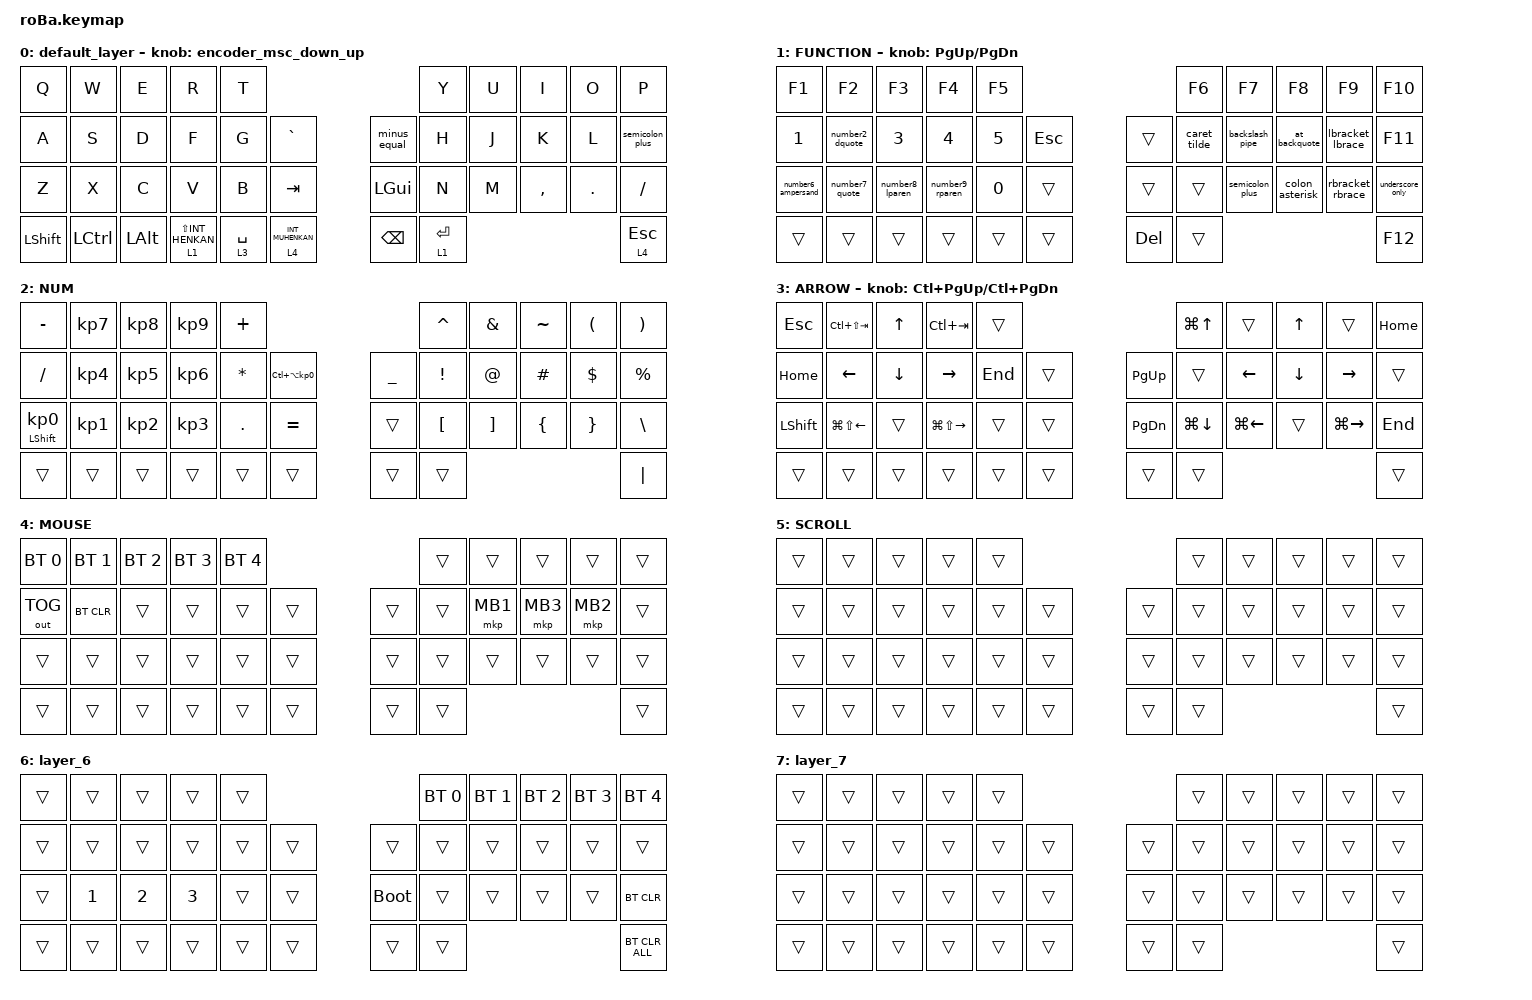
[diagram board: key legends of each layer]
#include <behaviors.dtsi>
#include <dt-bindings/zmk/bt.h>
#include <dt-bindings/zmk/keys.h>
#include <dt-bindings/zmk/outputs.h>
#include <dt-bindings/zmk/pointing.h>

// OS設定を日本語キーボードのまま使用するための変換定義

#define JP_DQUOTE       AT                // "
#define JP_AMPERSAND    CARET             // &
#define JP_QUOTE        AMPERSAND         // '
#define JP_EQUAL        UNDER             // =
#define JP_CARET        EQUAL             // ^
#define JP_YEN          0x89              // ¥
#define JP_PLUS         COLON             // +
#define JP_TILDE        PLUS              // ~
#define JP_PIPE         LS(0x89)          // |
#define JP_AT           LEFT_BRACKET      // @
#define JP_COLON        SINGLE_QUOTE      // :
#define JP_ASTERISK     DOUBLE_QUOTES     // *
#define JP_BACKQUOTE    LEFT_BRACE        // `
#define JP_UNDERSCORE   LS(0x87)          // _
#define JP_LBRACKET     RIGHT_BRACKET     // [
#define JP_RBRACKET     BACKSLASH         // ]
#define JP_LPAREN       ASTERISK          // (
#define JP_RPAREN       LEFT_PARENTHESIS  // )
#define JP_LBRACE       RIGHT_BRACE       // {
#define JP_RBRACE       PIPE              // }
#define JP_KANA         LANGUAGE_1        // かな
#define JP_EISU         LANGUAGE_2        // 英数
#define JP_HANZEN       GRAVE             // 半角/全角
#define ZMK_POINTING_DEFAULT_SCRL_VAL 80

&mt {
    flavor = "balanced";
    quick-tap-ms = <0>;
};

&trackball {
    automouse-layer = <4>;
    scroll-layers = <5>;

    // arrows {
    //     layers = <3>;
    //     bindings =
    //         <&kp RIGHT_ARROW>,
    //         <&kp LEFT_ARROW>,
    //         <&kp UP_ARROW>,
    //         <&kp DOWN_ARROW>;
    //     tick = <10>;
    //     wait-ms = <5>;
    //     tap-ms = <5>;
    // };
};

/ {
    combos {
        compatible = "zmk,combos";

        tab {
            bindings = <&kp TAB>;
            key-positions = <11 12>;
        };

        shift_tab {
            bindings = <&kp LS(TAB)>;
            key-positions = <12 13>;
        };

        muhennkann {
            bindings = <&to_layer_0 INT_MUHENKAN>;
            key-positions = <11 10>;
        };

        double_quotation {
            bindings = <&kp DOUBLE_QUOTES>;
            key-positions = <20 21>;
        };

        eq {
            bindings = <&kp EQUAL>;
            key-positions = <24 25>;
        };
    };

    macros {
        to_layer_0: to_layer_0 {
            compatible = "zmk,behavior-macro-one-param";
            #binding-cells = <1>;
            bindings = <&to 0 &macro_param_1to1 &kp MACRO_PLACEHOLDER>;
            label = "TO_LAYER_0";
        };
    };

    behaviors {
        lt_to_layer_0: lt_to_layer_0 {
            compatible = "zmk,behavior-hold-tap";
            label = "LAYER_TAP_TO_0";
            bindings = <&mo>, <&to_layer_0>;

            #binding-cells = <2>;
            tapping-term-ms = <200>;
        };

        // 2 / " （JP配列では Shift+2 が "）

        number2_dquote: number2_dquote {
            compatible = "zmk,behavior-mod-morph";
            #binding-cells = <0>;
            bindings = <&kp NUMBER_2>, <&kp JP_DQUOTE>;

            mods = <(MOD_LSFT | MOD_RSFT)>;
        };

        // 6 / & （JP配列では Shift+6 が &）

        number6_ampersand: number6_ampersand {
            compatible = "zmk,behavior-mod-morph";
            #binding-cells = <0>;
            bindings = <&kp NUMBER_6>, <&kp JP_AMPERSAND>;

            mods = <(MOD_LSFT | MOD_RSFT)>;
        };

        // 7 / ' （JP配列では Shift+7 が '）

        number7_quote: number7_quote {
            compatible = "zmk,behavior-mod-morph";
            #binding-cells = <0>;
            bindings = <&kp NUMBER_7>, <&kp JP_QUOTE>;

            mods = <(MOD_LSFT | MOD_RSFT)>;
        };

        // 8 / ( （JP配列では Shift+8 が (）

        number8_lparen: number8_lparen {
            compatible = "zmk,behavior-mod-morph";
            #binding-cells = <0>;
            bindings = <&kp NUMBER_8>, <&kp JP_LPAREN>;

            mods = <(MOD_LSFT | MOD_RSFT)>;
        };

        // 9 / ) （JP配列では Shift+9 が )）

        number9_rparen: number9_rparen {
            compatible = "zmk,behavior-mod-morph";
            #binding-cells = <0>;
            bindings = <&kp NUMBER_9>, <&kp JP_RPAREN>;

            mods = <(MOD_LSFT | MOD_RSFT)>;
        };

        // 既存：US バックスラッシュ キーで ¥ / | を出す

        backslash_pipe: backslash_pipe {
            compatible = "zmk,behavior-mod-morph";
            #binding-cells = <0>;
            bindings = <&kp JP_YEN>, <&kp JP_PIPE>;

            mods = <(MOD_LSFT | MOD_RSFT)>;
        };

        // - / = （JP配列では Shift+Minus が =）

        minus_equal: minus_equal {
            compatible = "zmk,behavior-mod-morph";
            #binding-cells = <0>;

            // 通常: - , Shift時: =

            bindings = <&kp MINUS>, <&kp JP_EQUAL>;

            mods = <(MOD_LSFT | MOD_RSFT)>;
        };

        // ^ / ~ （JP配列の「^/~」キー相当）

        caret_tilde: caret_tilde {
            compatible = "zmk,behavior-mod-morph";
            #binding-cells = <0>;

            // 通常: ^ , Shift時: ~

            bindings = <&kp JP_CARET>, <&kp JP_TILDE>;

            mods = <(MOD_LSFT | MOD_RSFT)>;
        };

        // @ / ` （JP配列では @ と ` が同じキーに乗っている）

        at_backquote: at_backquote {
            compatible = "zmk,behavior-mod-morph";
            #binding-cells = <0>;

            // 通常: @ , Shift時: `

            bindings = <&kp JP_AT>, <&kp JP_BACKQUOTE>;

            mods = <(MOD_LSFT | MOD_RSFT)>;
        };

        // ; / + （JP配列では Shift+; が +）

        semicolon_plus: semicolon_plus {
            compatible = "zmk,behavior-mod-morph";
            #binding-cells = <0>;
            bindings = <&kp SEMICOLON>, <&kp JP_PLUS>;

            mods = <(MOD_LSFT | MOD_RSFT)>;
        };

        // : / * （JP配列の「:/*」キー相当）

        colon_asterisk: colon_asterisk {
            compatible = "zmk,behavior-mod-morph";
            #binding-cells = <0>;

            // 通常: : , Shift時: *

            bindings = <&kp JP_COLON>, <&kp JP_ASTERISK>;

            mods = <(MOD_LSFT | MOD_RSFT)>;
        };

        // [ / { （JP配列での [ / { のペア）

        lbracket_lbrace: lbracket_lbrace {
            compatible = "zmk,behavior-mod-morph";
            #binding-cells = <0>;

            // 通常: [ , Shift時: {

            bindings = <&kp JP_LBRACKET>, <&kp JP_LBRACE>;

            mods = <(MOD_LSFT | MOD_RSFT)>;
        };

        // ] / } （JP配列での ] / } のペア）

        rbracket_rbrace: rbracket_rbrace {
            compatible = "zmk,behavior-mod-morph";
            #binding-cells = <0>;

            // 通常: ] , Shift時: }

            bindings = <&kp JP_RBRACKET>, <&kp JP_RBRACE>;

            mods = <(MOD_LSFT | MOD_RSFT)>;
        };

        // 必要なら、_ 専用キー（Shift有無で同じ挙動）

        underscore_only: underscore_only {
            compatible = "zmk,behavior-mod-morph";
            #binding-cells = <0>;

            // 通常/Shift時ともに _

            bindings = <&kp JP_UNDERSCORE>, <&kp JP_UNDERSCORE>;

            mods = <(MOD_LSFT | MOD_RSFT)>;
        };

        encoder_msc_down_up: encoder_msc_down_up {
            compatible = "zmk,behavior-sensor-rotate";
            label = "ENCODER_MSC_DOWN_UP";
            #sensor-binding-cells = <0>;
            bindings = <&msc SCRL_DOWN>, <&msc SCRL_UP>;

            tap-ms = <20>;
        };
    };

    keymap {
        compatible = "zmk,keymap";

        default_layer {
            bindings = <
&kp Q      &kp W      &kp E     &kp R                 &kp T                                                &kp Y        &kp U  &kp I      &kp O    &kp P
&kp A      &kp S      &kp D     &kp F                 &kp G        &kp JP_HANZEN          &minus_equal  &kp H        &kp J  &kp K      &kp L    &semicolon_plus
&kp Z      &kp X      &kp C     &kp V                 &kp B        &kp TAB                 &kp LEFT_GUI    &kp N        &kp M  &kp COMMA  &kp DOT  &kp SLASH
&kp LSHFT  &kp LCTRL  &kp LALT  &lt 1 LS(INT_HENKAN)  &lt 3 SPACE  &lt 4 INT_MUHENKAN      &kp BACKSPACE   &lt 1 ENTER                             &lt 4 ESCAPE
            >;

            sensor-bindings = <&encoder_msc_down_up>;
        };

        FUNCTION {
            bindings = <
&kp F1              &kp F2           &kp F3           &kp F4           &kp F5                                &kp F6        &kp F7           &kp F8           &kp F9            &kp F10
&kp NUMBER_1        &number2_dquote  &kp NUMBER_3     &kp NUMBER_4     &kp N5  &kp ESCAPE      &trans  &caret_tilde  &backslash_pipe  &at_backquote    &lbracket_lbrace  &kp F11
&number6_ampersand  &number7_quote   &number8_lparen  &number9_rparen  &kp N0  &trans          &trans        &trans        &semicolon_plus  &colon_asterisk  &rbracket_rbrace  &underscore_only
&trans              &trans           &trans           &trans           &trans  &trans          &kp DEL       &trans                                                            &kp F12
            >;

            sensor-bindings = <&inc_dec_kp PG_UP PAGE_DOWN>;
        };

        NUM {
            bindings = <
&kp MINUS                   &kp KP_NUMBER_7  &kp KP_NUMBER_8  &kp KP_NUMBER_9  &kp PLUS                                                   &kp CARET         &kp AMPERSAND      &kp TILDE       &kp LEFT_PARENTHESIS  &kp RIGHT_PARENTHESIS
&kp SLASH                   &kp KP_NUMBER_4  &kp KP_NUMBER_5  &kp KP_NUMBER_6  &kp ASTERISK  &kp LC(LA(KP_NUMBER_0))      &kp UNDERSCORE  &kp EXCLAMATION   &kp AT_SIGN        &kp HASH        &kp DOLLAR            &kp PERCENT
&mt LEFT_SHIFT KP_NUMBER_0  &kp KP_NUMBER_1  &kp KP_NUMBER_2  &kp KP_NUMBER_3  &kp PERIOD    &kp EQUAL                    &trans          &kp LEFT_BRACKET  &kp RIGHT_BRACKET  &kp LEFT_BRACE  &kp RIGHT_BRACE       &kp BACKSLASH
&trans                      &trans           &trans           &trans           &trans        &trans                       &trans          &trans                                                                     &kp PIPE
            >;
        };

        ARROW {
            bindings = <
&kp ESCAPE      &kp LC(LS(TAB))         &kp UP_ARROW    &kp LC(TAB)              &trans                              &kp LG(UP)    &trans    &kp UP    &trans     &kp HOME
&kp HOME        &kp LEFT_ARROW          &kp DOWN_ARROW  &kp RIGHT_ARROW          &kp END  &trans      &kp PAGE_UP    &trans         &kp LEFT  &kp DOWN  &kp RIGHT  &trans
&kp LEFT_SHIFT  &kp LG(LS(LEFT_ARROW))  &trans          &kp LG(LS(RIGHT_ARROW))  &trans   &trans      &kp PAGE_DOWN  &kp LG(DOWN)  &kp LG(LEFT)  &trans    &kp LG(RIGHT)    &kp END
&trans          &trans                  &trans          &trans                   &trans   &trans      &trans         &trans                                        &trans
            >;

            sensor-bindings = <&inc_dec_kp LC(PAGE_UP) LC(PAGE_DOWN)>;
        };

        MOUSE {
            bindings = <
&bt BT_SEL 0  &bt BT_SEL 1  &bt BT_SEL 2  &bt BT_SEL 3  &bt BT_SEL 4                      &trans  &trans    &trans    &trans    &trans
&out OUT_TOG  &bt BT_CLR    &trans        &trans        &trans        &trans      &trans  &trans  &mkp MB1  &mkp MB3  &mkp MB2  &trans
&trans        &trans        &trans        &trans        &trans        &trans      &trans  &trans  &trans    &trans    &trans    &trans
&trans        &trans        &trans        &trans        &trans        &trans      &trans  &trans                                &trans
            >;
        };

        SCROLL {
            bindings = <
&trans  &trans  &trans  &trans  &trans                      &trans  &trans  &trans  &trans  &trans
&trans  &trans  &trans  &trans  &trans  &trans      &trans  &trans  &trans  &trans  &trans  &trans
&trans  &trans  &trans  &trans  &trans  &trans      &trans  &trans  &trans  &trans  &trans  &trans
&trans  &trans  &trans  &trans  &trans  &trans      &trans  &trans                          &trans
            >;
        };

        layer_6 {
            bindings = <
&trans  &trans        &trans        &trans        &trans                           &bt BT_SEL 0  &bt BT_SEL 1  &bt BT_SEL 2  &bt BT_SEL 3  &bt BT_SEL 4
&trans  &trans        &trans        &trans        &trans  &trans      &trans       &trans        &trans        &trans        &trans        &trans
&trans  &kp NUMBER_1  &kp NUMBER_2  &kp NUMBER_3  &trans  &trans      &bootloader  &trans        &trans        &trans        &trans        &bt BT_CLR
&trans  &trans        &trans        &trans        &trans  &trans      &trans       &trans                                                  &bt BT_CLR_ALL
            >;
        };

        layer_7 {
            bindings = <
&trans  &trans  &trans  &trans  &trans                      &trans  &trans  &trans  &trans  &trans
&trans  &trans  &trans  &trans  &trans  &trans      &trans  &trans  &trans  &trans  &trans  &trans
&trans  &trans  &trans  &trans  &trans  &trans      &trans  &trans  &trans  &trans  &trans  &trans
&trans  &trans  &trans  &trans  &trans  &trans      &trans  &trans                          &trans
            >;
        };
    };
};
